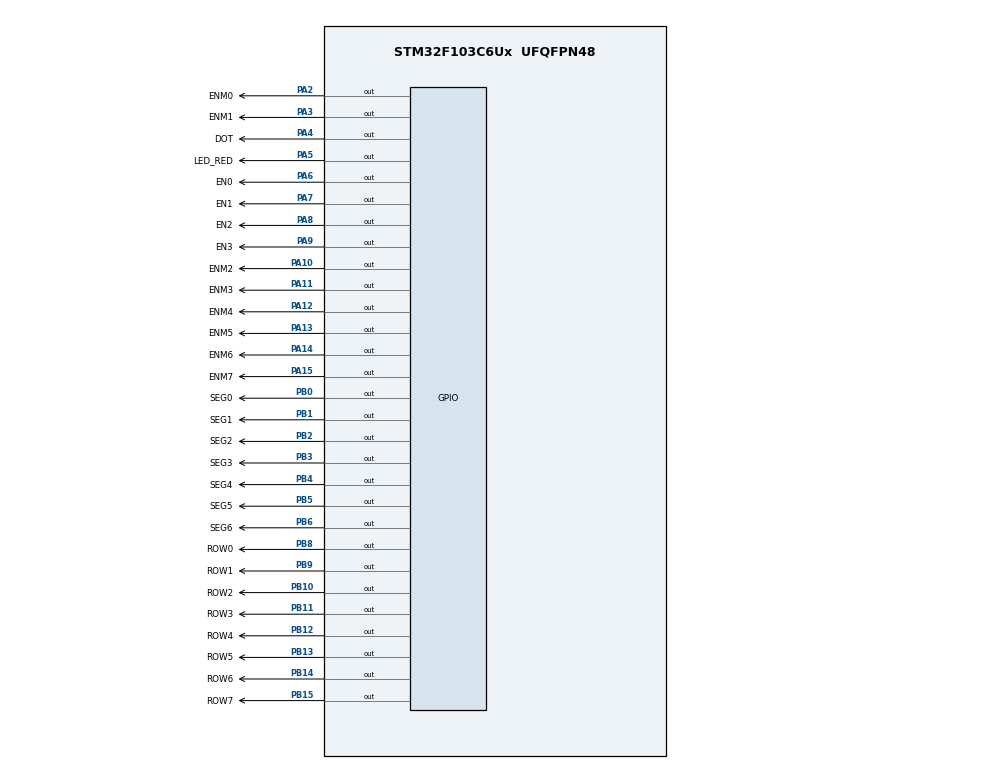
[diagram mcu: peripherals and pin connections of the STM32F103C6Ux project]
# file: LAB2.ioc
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Mcu.Family=STM32F1
Mcu.Name=STM32F103C6Ux
Mcu.Package=UFQFPN48
NVIC.PriorityGroup=NVIC_PRIORITYGROUP_4
NVIC.TIM2_IRQn=true\:0\:0\:false\:false\:true\:true\:true\:true
PA10.GPIO_Label=ENM2
PA10.Signal=GPIO_Output
PA11.GPIO_Label=ENM3
PA11.Signal=GPIO_Output
PA12.GPIO_Label=ENM4
PA12.Signal=GPIO_Output
PA13.GPIO_Label=ENM5
PA13.Signal=GPIO_Output
PA14.GPIO_Label=ENM6
PA14.Signal=GPIO_Output
PA15.GPIO_Label=ENM7
PA15.Signal=GPIO_Output
PA2.GPIO_Label=ENM0
PA2.Signal=GPIO_Output
PA3.GPIO_Label=ENM1
PA3.Signal=GPIO_Output
PA4.GPIO_Label=DOT
PA4.Signal=GPIO_Output
PA5.GPIO_Label=LED_RED
PA5.Signal=GPIO_Output
PA6.GPIO_Label=EN0
PA6.Signal=GPIO_Output
PA7.GPIO_Label=EN1
PA7.Signal=GPIO_Output
PA8.GPIO_Label=EN2
PA8.Signal=GPIO_Output
PA9.GPIO_Label=EN3
PA9.Signal=GPIO_Output
PB0.GPIO_Label=SEG0
PB0.Signal=GPIO_Output
PB1.GPIO_Label=SEG1
PB1.Signal=GPIO_Output
PB10.GPIO_Label=ROW2
PB10.Signal=GPIO_Output
PB11.GPIO_Label=ROW3
PB11.Signal=GPIO_Output
PB12.GPIO_Label=ROW4
PB12.Signal=GPIO_Output
PB13.GPIO_Label=ROW5
PB13.Signal=GPIO_Output
PB14.GPIO_Label=ROW6
PB14.Signal=GPIO_Output
PB15.GPIO_Label=ROW7
PB15.Signal=GPIO_Output
PB2.GPIO_Label=SEG2
PB2.Signal=GPIO_Output
PB3.GPIO_Label=SEG3
PB3.Signal=GPIO_Output
PB4.GPIO_Label=SEG4
PB4.Signal=GPIO_Output
PB5.GPIO_Label=SEG5
PB5.Signal=GPIO_Output
PB6.GPIO_Label=SEG6
PB6.Signal=GPIO_Output
PB8.GPIO_Label=ROW0
PB8.Signal=GPIO_Output
PB9.GPIO_Label=ROW1
PB9.Signal=GPIO_Output
ProjectManager.HeapSize=0x200
ProjectManager.StackSize=0x400
ProjectManager.TargetToolchain=STM32CubeIDE
RCC.APB1Freq_Value=8000000
RCC.APB2Freq_Value=8000000
TIM2.Period=10
TIM2.Prescaler=7999
VP_TIM2_VS_ClockSourceINT.Mode=Internal
board=custom

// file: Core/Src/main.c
/* USER CODE BEGIN Header */
/**
  ******************************************************************************
  * @file           : main.c
  * @brief          : Main program body
  ******************************************************************************
  * @attention
  *
  * Copyright (c) 2022 STMicroelectronics.
  * All rights reserved.
  *
  * This software is licensed under terms that can be found in the LICENSE file
  * in the root directory of this software component.
  * If no LICENSE file comes with this software, it is provided AS-IS.
  *
  ******************************************************************************
  */
/* USER CODE END Header */
#include "main.h"

/* USER CODE BEGIN Includes */
#include "display7SEG.h"
#include "displayMatrix.h"
#include "software_timer.h"
/* USER CODE END Includes */

TIM_HandleTypeDef htim2;

void SystemClock_Config(void);
static void MX_GPIO_Init(void);
static void MX_TIM2_Init(void);

int main(void)
{

  /* MCU Configuration--------------------------------------------------------*/

  /* Reset of all peripherals, Initializes the Flash interface and the Systick. */
  HAL_Init();

  /* Configure the system clock */
  SystemClock_Config();

  /* Initialize all configured peripherals */
  MX_GPIO_Init();
  MX_TIM2_Init();
  /* USER CODE BEGIN 2 */
  HAL_TIM_Base_Start_IT(&htim2);
  /* USER CODE END 2 */

  /* Infinite loop */
  /* USER CODE BEGIN WHILE */
  setTimer0(1000);
  setTimer1(250);
  int tmp = 0;
  while (1)
  {
	  //Clock
	  if (timer0_flag == 1) {
		  second++;
		  if (second >= 60) {
			  second = 0;
			  minute++;
		  }
		  if(minute >= 60) {
			  minute = 0;
			  hour++;
		  }
		  if(hour >=24){
			  hour = 0;
		  }
		  updateClockBuffer();
		  HAL_GPIO_TogglePin(DOT_GPIO_Port, DOT_Pin);
		  HAL_GPIO_TogglePin(LED_RED_GPIO_Port, LED_RED_Pin);
		  setTimer0(1000);
	  }
	  //7Seg and Matrix
	  if (timer1_flag == 1) {
		  update7SEG(index_led);
		  updateLEDMatrix(index_led_matrix);
		  setTimer1(250);
		  tmp+=250;
	  }
	  if (tmp == 2000) {
		  updateMatrixBuffer();
		  tmp = 0;
	  }
    /* USER CODE END WHILE */

  }
}

void SystemClock_Config(void)
{
  RCC_OscInitTypeDef RCC_OscInitStruct = {0};
  RCC_ClkInitTypeDef RCC_ClkInitStruct = {0};

  /** Initializes the RCC Oscillators according to the specified parameters
  * in the RCC_OscInitTypeDef structure.
  */
  RCC_OscInitStruct.OscillatorType = RCC_OSCILLATORTYPE_HSI;
  RCC_OscInitStruct.HSIState = RCC_HSI_ON;
  RCC_OscInitStruct.HSICalibrationValue = RCC_HSICALIBRATION_DEFAULT;
  RCC_OscInitStruct.PLL.PLLState = RCC_PLL_NONE;
  if (HAL_RCC_OscConfig(&RCC_OscInitStruct) != HAL_OK)
  {
    Error_Handler();
  }

  /** Initializes the CPU, AHB and APB buses clocks
  */
  RCC_ClkInitStruct.ClockType = RCC_CLOCKTYPE_HCLK|RCC_CLOCKTYPE_SYSCLK
                              |RCC_CLOCKTYPE_PCLK1|RCC_CLOCKTYPE_PCLK2;
  RCC_ClkInitStruct.SYSCLKSource = RCC_SYSCLKSOURCE_HSI;
  RCC_ClkInitStruct.AHBCLKDivider = RCC_SYSCLK_DIV1;
  RCC_ClkInitStruct.APB1CLKDivider = RCC_HCLK_DIV1;
  RCC_ClkInitStruct.APB2CLKDivider = RCC_HCLK_DIV1;

  if (HAL_RCC_ClockConfig(&RCC_ClkInitStruct, FLASH_LATENCY_0) != HAL_OK)
  {
    Error_Handler();
  }
}

static void MX_TIM2_Init(void)
{

  TIM_ClockConfigTypeDef sClockSourceConfig = {0};
  TIM_MasterConfigTypeDef sMasterConfig = {0};

  htim2.Instance = TIM2;
  htim2.Init.Prescaler = 7999;
  htim2.Init.CounterMode = TIM_COUNTERMODE_UP;
  htim2.Init.Period = 10;
  htim2.Init.ClockDivision = TIM_CLOCKDIVISION_DIV1;
  htim2.Init.AutoReloadPreload = TIM_AUTORELOAD_PRELOAD_DISABLE;
  if (HAL_TIM_Base_Init(&htim2) != HAL_OK)
  {
    Error_Handler();
  }
  sClockSourceConfig.ClockSource = TIM_CLOCKSOURCE_INTERNAL;
  if (HAL_TIM_ConfigClockSource(&htim2, &sClockSourceConfig) != HAL_OK)
  {
    Error_Handler();
  }
  sMasterConfig.MasterOutputTrigger = TIM_TRGO_RESET;
  sMasterConfig.MasterSlaveMode = TIM_MASTERSLAVEMODE_DISABLE;
  if (HAL_TIMEx_MasterConfigSynchronization(&htim2, &sMasterConfig) != HAL_OK)
  {
    Error_Handler();
  }

}

static void MX_GPIO_Init(void)
{
  GPIO_InitTypeDef GPIO_InitStruct = {0};

  /* GPIO Ports Clock Enable */
  __HAL_RCC_GPIOA_CLK_ENABLE();
  __HAL_RCC_GPIOB_CLK_ENABLE();

  /*Configure GPIO pin Output Level */
  HAL_GPIO_WritePin(GPIOA, ENM0_Pin|ENM1_Pin|DOT_Pin|LED_RED_Pin
                          |EN0_Pin|EN1_Pin|EN2_Pin|EN3_Pin
                          |ENM2_Pin|ENM3_Pin|ENM4_Pin|ENM5_Pin
                          |ENM6_Pin|ENM7_Pin, GPIO_PIN_RESET);

  /*Configure GPIO pin Output Level */
  HAL_GPIO_WritePin(GPIOB, SEG0_Pin|SEG1_Pin|SEG2_Pin|ROW2_Pin
                          |ROW3_Pin|ROW4_Pin|ROW5_Pin|ROW6_Pin
                          |ROW7_Pin|SEG3_Pin|SEG4_Pin|SEG5_Pin
                          |SEG6_Pin|ROW0_Pin|ROW1_Pin, GPIO_PIN_RESET);

  /*Configure GPIO pins : ENM0_Pin ENM1_Pin DOT_Pin LED_RED_Pin
                           EN0_Pin EN1_Pin EN2_Pin EN3_Pin
                           ENM2_Pin ENM3_Pin ENM4_Pin ENM5_Pin
                           ENM6_Pin ENM7_Pin */
  GPIO_InitStruct.Pin = ENM0_Pin|ENM1_Pin|DOT_Pin|LED_RED_Pin
                          |EN0_Pin|EN1_Pin|EN2_Pin|EN3_Pin
                          |ENM2_Pin|ENM3_Pin|ENM4_Pin|ENM5_Pin
                          |ENM6_Pin|ENM7_Pin;
  GPIO_InitStruct.Mode = GPIO_MODE_OUTPUT_PP;
  GPIO_InitStruct.Pull = GPIO_NOPULL;
  GPIO_InitStruct.Speed = GPIO_SPEED_FREQ_LOW;
  HAL_GPIO_Init(GPIOA, &GPIO_InitStruct);

  /*Configure GPIO pins : SEG0_Pin SEG1_Pin SEG2_Pin ROW2_Pin
                           ROW3_Pin ROW4_Pin ROW5_Pin ROW6_Pin
                           ROW7_Pin SEG3_Pin SEG4_Pin SEG5_Pin
                           SEG6_Pin ROW0_Pin ROW1_Pin */
  GPIO_InitStruct.Pin = SEG0_Pin|SEG1_Pin|SEG2_Pin|ROW2_Pin
                          |ROW3_Pin|ROW4_Pin|ROW5_Pin|ROW6_Pin
                          |ROW7_Pin|SEG3_Pin|SEG4_Pin|SEG5_Pin
                          |SEG6_Pin|ROW0_Pin|ROW1_Pin;
  GPIO_InitStruct.Mode = GPIO_MODE_OUTPUT_PP;
  GPIO_InitStruct.Pull = GPIO_NOPULL;
  GPIO_InitStruct.Speed = GPIO_SPEED_FREQ_LOW;
  HAL_GPIO_Init(GPIOB, &GPIO_InitStruct);

}

/* USER CODE BEGIN 4 */
void HAL_TIM_PeriodElapsedCallback(TIM_HandleTypeDef *htim) {
	timer_run();
}
/* USER CODE END 4 */

void Error_Handler(void)
{
  __disable_irq();
  while (1)
  {
  }
}
